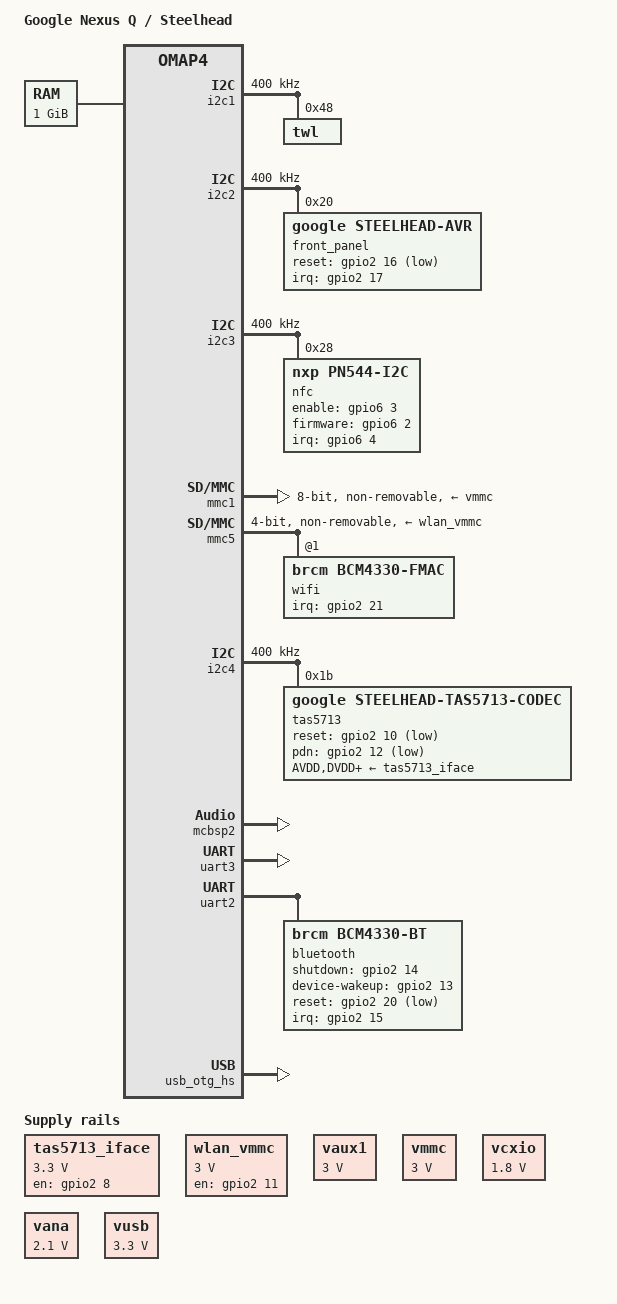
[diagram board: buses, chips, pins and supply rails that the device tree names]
// SPDX-License-Identifier: GPL-2.0-only
/dts-v1/;

#include "omap4460.dtsi"
#include "elpida_ecb240abacn.dtsi"

/ {
	model = "Google Nexus Q / Steelhead";
	compatible = "google,steelhead", "ti,omap4460", "ti,omap4430", "ti,omap4";

	memory@80000000 {
		device_type = "memory";
		reg = <0x80000000 0x40000000>;
	};

	chosen {
		bootargs = "console=ttyO2,115200n8 earlyprintk ignore_loglevel root=/dev/ram0 rdinit=/init init=/init";
		stdout-path = &uart3;
	};

	tas5713_iface: regulator-tas5713-interface {
		compatible = "regulator-fixed";
		regulator-name = "tas5713-interface";
		regulator-min-microvolt = <3300000>;
		regulator-max-microvolt = <3300000>;
		gpio = <&gpio2 8 GPIO_ACTIVE_HIGH>;		/* gpio_40 */
		enable-active-high;
		regulator-boot-on;
		regulator-always-on;
		startup-delay-us = <10000>;
		pinctrl-names = "default";
		pinctrl-0 = <&tas5713_gpio_pins>;
	};

	wlan_vmmc: regulator-wlan-vmmc {
		compatible = "regulator-fixed";
		regulator-name = "wlan-vmmc";
		regulator-min-microvolt = <3000000>;
		regulator-max-microvolt = <3000000>;
		gpio = <&gpio2 11 GPIO_ACTIVE_HIGH>;		/* gpio_43 */
		enable-active-high;
		regulator-boot-on;
		startup-delay-us = <500000>;
		pinctrl-names = "default";
		pinctrl-0 = <&wlan_gpio_pins>;
	};

	sound_tas5713: sound-tas5713 {
		compatible = "google,steelhead-tas5713";
		ti,model = "Steelhead TAS5713";
		pinctrl-names = "default";
		pinctrl-0 = <&tas5713_mclk_pins>;
		google,mcbsp = <&mcbsp2>;
		google,audio-codec = <&tas5713>;
		clocks = <&auxclk1_ck>,
			 <&abe_clkctrl OMAP4_MCBSP2_CLKCTRL 26>,
			 <&abe_24m_fclk>;
		clock-names = "codec-mclk", "mcbsp-sync", "mcbsp-parent";
	};
};

&omap4_pmx_core {
	i2c1_pins: i2c1-pins {
		pinctrl-single,pins = <
			OMAP4_IOPAD(0x122, PIN_INPUT_PULLUP | MUX_MODE0)	/* i2c1_scl */
			OMAP4_IOPAD(0x124, PIN_INPUT_PULLUP | MUX_MODE0)	/* i2c1_sda */
		>;
	};

	i2c2_pins: i2c2-pins {
		pinctrl-single,pins = <
			OMAP4_IOPAD(0x126, PIN_INPUT_PULLUP | MUX_MODE0)	/* i2c2_scl */
			OMAP4_IOPAD(0x128, PIN_INPUT_PULLUP | MUX_MODE0)	/* i2c2_sda */
		>;
	};

	i2c3_pins: i2c3-pins {
		pinctrl-single,pins = <
			OMAP4_IOPAD(0x12a, PIN_INPUT_PULLUP | MUX_MODE0)	/* i2c3_scl */
			OMAP4_IOPAD(0x12c, PIN_INPUT_PULLUP | MUX_MODE0)	/* i2c3_sda */
		>;
	};

	i2c4_pins: i2c4-pins {
		pinctrl-single,pins = <
			OMAP4_IOPAD(0x12e, PIN_INPUT_PULLUP | MUX_MODE0)	/* i2c4_scl */
			OMAP4_IOPAD(0x130, PIN_INPUT_PULLUP | MUX_MODE0)	/* i2c4_sda */
		>;
	};

	mcbsp2_pins: mcbsp2-pins {
		pinctrl-single,pins = <
			OMAP4_IOPAD(0x0f6, PIN_OUTPUT | MUX_MODE0)		/* abe_mcbsp2_clkx */
			OMAP4_IOPAD(0x0f8, PIN_INPUT_PULLDOWN | MUX_MODE0)	/* abe_mcbsp2_dr */
			OMAP4_IOPAD(0x0fa, PIN_OUTPUT | MUX_MODE0)		/* abe_mcbsp2_dx */
			OMAP4_IOPAD(0x0fc, PIN_OUTPUT | MUX_MODE0)		/* abe_mcbsp2_fsx */
		>;
	};

	tas5713_gpio_pins: tas5713-gpio-pins {
		pinctrl-single,pins = <
			OMAP4_IOPAD(0x060, PIN_OUTPUT | MUX_MODE3)		/* gpmc_a16.gpio_40 */
			OMAP4_IOPAD(0x064, PIN_OUTPUT | MUX_MODE3)		/* gpmc_a18.gpio_42 */
			OMAP4_IOPAD(0x068, PIN_OUTPUT | MUX_MODE3)		/* gpmc_a20.gpio_44 */
		>;
	};

	tas5713_mclk_pins: tas5713-mclk-pins {
		pinctrl-single,pins = <
			OMAP4_IOPAD(0x19a, PIN_OUTPUT | MUX_MODE0)		/* fref_clk1_out */
		>;
	};

	wlan_gpio_pins: wlan-gpio-pins {
		pinctrl-single,pins = <
			OMAP4_IOPAD(0x066, PIN_OUTPUT | MUX_MODE3)		/* gpmc_a19.gpio_43 */
			OMAP4_IOPAD(0x07a, PIN_INPUT | MUX_MODE3)		/* gpmc_ncs3.gpio_53 */
		>;
	};

	bt_uart2_pins: bt-uart2-pins {
		pinctrl-single,pins = <
			OMAP4_IOPAD(0x118, PIN_INPUT_PULLUP | MUX_MODE0)	/* uart2_cts */
			OMAP4_IOPAD(0x11a, PIN_OUTPUT | MUX_MODE0)		/* uart2_rts */
			OMAP4_IOPAD(0x11c, PIN_INPUT_PULLUP | MUX_MODE0)	/* uart2_rx */
			OMAP4_IOPAD(0x11e, PIN_OUTPUT | MUX_MODE0)		/* uart2_tx */
		>;
	};

	bt_gpio_pins: bt-gpio-pins {
		pinctrl-single,pins = <
			OMAP4_IOPAD(0x06a, PIN_OUTPUT | MUX_MODE3)		/* gpmc_a21.gpio_45 - BT_WAKE */
			OMAP4_IOPAD(0x06c, PIN_OUTPUT | MUX_MODE3)		/* gpmc_a22.gpio_46 - BT_REG_ON */
			OMAP4_IOPAD(0x06e, PIN_INPUT | MUX_MODE3)		/* gpmc_a23.gpio_47 - HOST_WAKE */
			OMAP4_IOPAD(0x078, PIN_OUTPUT | MUX_MODE3)		/* gpmc_ncs2.gpio_52 - BT_RST_N */
		>;
	};

	bt_mcbsp1_idle_pins: bt-mcbsp1-idle-pins {
		pinctrl-single,pins = <
			OMAP4_IOPAD(0x0fe, PIN_OUTPUT | MUX_MODE3)		/* abe_mcbsp1_clkx.gpio_114 */
			OMAP4_IOPAD(0x102, PIN_OUTPUT | MUX_MODE3)		/* abe_mcbsp1_dx.gpio_116 */
			OMAP4_IOPAD(0x104, PIN_OUTPUT | MUX_MODE3)		/* abe_mcbsp1_fsx.gpio_117 */
		>;
	};

	avr_gpio_pins: avr-gpio-pins {
		pinctrl-single,pins = <
			OMAP4_IOPAD(0x070, PIN_OUTPUT_PULLUP | MUX_MODE3)	/* gpmc_a24.gpio_48 */
			OMAP4_IOPAD(0x072, PIN_INPUT_PULLUP | MUX_MODE3)	/* gpmc_a25.gpio_49 */
		>;
	};

	nfc_gpio_pins: nfc-gpio-pins {
		pinctrl-single,pins = <
			OMAP4_IOPAD(0x16a, PIN_OUTPUT | MUX_MODE3)		/* usbb2_ulpitll_dat1.gpio_162 */
			OMAP4_IOPAD(0x16c, PIN_OUTPUT | MUX_MODE3)		/* usbb2_ulpitll_dat2.gpio_163 */
			OMAP4_IOPAD(0x16e, PIN_INPUT_PULLUP | MUX_MODE3)	/* usbb2_ulpitll_dat3.gpio_164 */
		>;
	};

	mmc5_pins: mmc5-pins {
		pinctrl-single,pins = <
			OMAP4_IOPAD(0x148, PIN_INPUT_PULLUP | MUX_MODE0)	/* sdmmc5_clk */
			OMAP4_IOPAD(0x14a, PIN_INPUT_PULLUP | MUX_MODE0)	/* sdmmc5_cmd */
			OMAP4_IOPAD(0x14c, PIN_INPUT_PULLUP | MUX_MODE0)	/* sdmmc5_dat0 */
			OMAP4_IOPAD(0x14e, PIN_INPUT_PULLUP | MUX_MODE0)	/* sdmmc5_dat1 */
			OMAP4_IOPAD(0x150, PIN_INPUT_PULLUP | MUX_MODE0)	/* sdmmc5_dat2 */
			OMAP4_IOPAD(0x152, PIN_INPUT_PULLUP | MUX_MODE0)	/* sdmmc5_dat3 */
		>;
	};
};

&i2c1 {
	pinctrl-names = "default";
	pinctrl-0 = <&i2c1_pins>;
	clock-frequency = <400000>;

	twl: twl@48 {
		reg = <0x48>;
		interrupts = <GIC_SPI 7 IRQ_TYPE_LEVEL_HIGH>;
	};
};

&i2c2 {
	pinctrl-names = "default";
	pinctrl-0 = <&i2c2_pins>;
	clock-frequency = <400000>;
	status = "okay";

	front_panel: front-panel@20 {
		compatible = "google,steelhead-avr";
		reg = <0x20>;
		pinctrl-names = "default";
		pinctrl-0 = <&avr_gpio_pins>;
		reset-gpios = <&gpio2 16 GPIO_ACTIVE_LOW>;		/* gpio_48 */
		interrupts-extended = <&gpio2 17 IRQ_TYPE_LEVEL_LOW>;	/* gpio_49 */
	};
};

&i2c3 {
	pinctrl-names = "default";
	pinctrl-0 = <&i2c3_pins>;
	clock-frequency = <400000>;
	status = "okay";

	#address-cells = <1>;
	#size-cells = <0>;

	nfc: nfc@28 {
		compatible = "nxp,pn544-i2c";
		reg = <0x28>;
		pinctrl-names = "default";
		pinctrl-0 = <&nfc_gpio_pins>;
		interrupt-parent = <&gpio6>;
		interrupts = <4 IRQ_TYPE_EDGE_RISING>;		/* gpio_164 */
		enable-gpios = <&gpio6 3 GPIO_ACTIVE_HIGH>;	/* gpio_163 */
		firmware-gpios = <&gpio6 2 GPIO_ACTIVE_HIGH>;	/* gpio_162 */
	};
};

#include "twl6030.dtsi"
#include "twl6030_omap4.dtsi"

&dpll_per_m3x2_ck {
	assigned-clocks = <&dpll_per_m3x2_ck>;
	assigned-clock-rates = <61440000>;
};

&auxclk1_src_ck {
	assigned-clocks = <&auxclk1_src_ck>;
	assigned-clock-parents = <&dpll_per_m3x2_ck>;
};

&auxclk1_ck {
	assigned-clocks = <&auxclk1_ck>;
	assigned-clock-rates = <12288000>;
};

&vaux1 {
	regulator-min-microvolt = <3000000>;
	regulator-max-microvolt = <3000000>;
	regulator-always-on;
};

&vmmc {
	regulator-min-microvolt = <3000000>;
	regulator-max-microvolt = <3000000>;
};

&vcxio {
	regulator-min-microvolt = <1800000>;
	regulator-max-microvolt = <1800000>;
	regulator-always-on;
};

&vana {
	regulator-min-microvolt = <2100000>;
	regulator-max-microvolt = <2100000>;
	regulator-always-on;
};

&vusb {
	regulator-min-microvolt = <3300000>;
	regulator-max-microvolt = <3300000>;
};

&twl_usb_comparator {
	usb-supply = <&vusb>;
};

&mmc1 {
	vmmc-supply = <&vmmc>;
	bus-width = <8>;
	non-removable;
	no-1-8-v;
	status = "okay";
};

&mmc2 {
	status = "disabled";
};

&mmc3 {
	status = "disabled";
};

&mmc4 {
	status = "disabled";
};

&mmc5 {
	pinctrl-names = "default";
	pinctrl-0 = <&mmc5_pins>;
	vmmc-supply = <&wlan_vmmc>;
	bus-width = <4>;
	non-removable;
	cap-power-off-card;
	keep-power-in-suspend;
	status = "okay";

	#address-cells = <1>;
	#size-cells = <0>;

	wifi@1 {
		compatible = "brcm,bcm4330-fmac", "brcm,bcm4329-fmac";
		reg = <1>;
		interrupts-extended = <&gpio2 21 IRQ_TYPE_LEVEL_HIGH>;	/* gpio_53 */
		interrupt-names = "host-wake";
		brcm,board-type = "google,steelhead";
		brcm,drive-strength = <12>;
	};
};

&i2c4 {
	pinctrl-names = "default";
	pinctrl-0 = <&i2c4_pins>;
	clock-frequency = <400000>;
	status = "okay";

	tas5713: audio-codec@1b {
		compatible = "google,steelhead-tas5713-codec", "ti,tas5711";
		reg = <0x1b>;
		#sound-dai-cells = <0>;

		reset-gpios = <&gpio2 10 GPIO_ACTIVE_LOW>;	/* gpio_42 */
		pdn-gpios = <&gpio2 12 GPIO_ACTIVE_LOW>;		/* gpio_44 */
		clocks = <&auxclk1_ck>;
		clock-names = "mclk";

		AVDD-supply = <&tas5713_iface>;
		DVDD-supply = <&tas5713_iface>;
		PVDD_A-supply = <&tas5713_iface>;
		PVDD_B-supply = <&tas5713_iface>;
		PVDD_C-supply = <&tas5713_iface>;
		PVDD_D-supply = <&tas5713_iface>;
	};
};

&mcbsp2 {
	#sound-dai-cells = <0>;
	pinctrl-names = "default";
	pinctrl-0 = <&mcbsp2_pins>;
	assigned-clocks = <&abe_clkctrl OMAP4_MCBSP2_CLKCTRL 26>;
	assigned-clock-parents = <&abe_24m_fclk>;
	status = "okay";
};

&uart3 {
	interrupts-extended = <&wakeupgen GIC_SPI 74 IRQ_TYPE_LEVEL_HIGH
			       &omap4_pmx_core OMAP4_UART3_RX>;
	status = "okay";
};

&uart2 {
	pinctrl-names = "default";
	pinctrl-0 = <&bt_uart2_pins &bt_gpio_pins &bt_mcbsp1_idle_pins>;
	uart-has-rtscts;
	interrupts-extended = <&wakeupgen GIC_SPI 73 IRQ_TYPE_LEVEL_HIGH
			       &omap4_pmx_core OMAP4_UART2_RX>;
	status = "okay";

	bluetooth {
		compatible = "brcm,bcm4330-bt";
		current-speed = <115200>;
		max-speed = <921600>;
		shutdown-gpios = <&gpio2 14 GPIO_ACTIVE_HIGH>;		/* gpio_46 */
		device-wakeup-gpios = <&gpio2 13 GPIO_ACTIVE_HIGH>;	/* gpio_45 */
		reset-gpios = <&gpio2 20 GPIO_ACTIVE_LOW>;		/* gpio_52 */
		interrupt-parent = <&gpio2>;
		interrupts = <15 IRQ_TYPE_EDGE_RISING>;			/* gpio_47 */
		interrupt-names = "host-wakeup";
	};
};

&usb_otg_hs {
	interface-type = <1>;
	mode = <2>;
	power = <500>;
	status = "okay";
};
